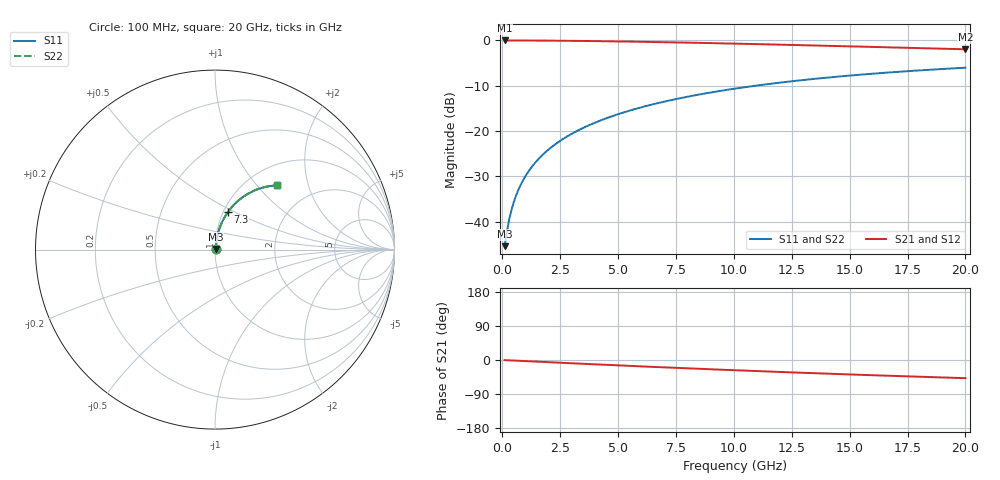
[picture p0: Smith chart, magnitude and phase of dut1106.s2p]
! Touchstone file exported from HFSS 2024.1.0
!  File:  C:/UserFiles/LocalFiles/RDL_TSV_Batchsim/temp_RDL_top_1106_1780046505.aedt
!  Generated:  05:23:54 PM May 29, 2026
!  Design:  RDL_top
!  Project:  temp_RDL_top_1106_1780046505
!  Setup:  Setup1
!  Solution:  Sweep
! Variables:
!  dtsv = 10.80580581um
!  hbump = 3um
!  htsv = 62.29um
!  ldown = 100um
!  lrdl = 671.07um
!  p = 40
!  p1 = 45.73um
!  rhole = 1um
!  t = 450um
!  tdown = 3.915915916um
!  trdl = 4.63um
!  wdown = 15.38538539um
!  wrdl = 12.04um
# GHz S MA R 50.000000
! Terminal data exported
! Port[1] = Box2_T1
! Port[2] = Box2_T2
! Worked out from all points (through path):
!   200 points, 100 MHz to 20 GHz, reference 50 ohm
!   highest |S21| = -0.04 dB at 100 MHz (marker M1); lowest = -2.0 dB at 20 GHz (marker M2)
!   group delay of S21, straight-line fit = 6.65 ps
!   lowest |S11| = -45.4 dB at 100 MHz (marker M3), VSWR 1.01, Z = 50.4 + j0.327 ohm
!   |S11| at or under -10 dB: start of sweep to 10.95 GHz
!   |S22| runs from -45.4 to -6.0 dB; largest |S21 - S12| = 1e-14
!   S11 on the Smith chart (normalised r, x): 100 MHz: 1.01, +0.01; 7.3 GHz: 1.05, +0.46; 20 GHz: 1.36, +1.29
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0.1  0.005384 37.0  0.9957 -0.3  0.9957 -0.3  0.005384 37.0
! Gamma 0 0 0 0
! Port Impedance 50 0 50 0
0.2  0.007812 55.6  0.9956 -0.6  0.9956 -0.6  0.007812 55.6
0.3  0.01064 64.5  0.9955 -0.9  0.9955 -0.9  0.01064 64.5
0.4  0.01359 69.5  0.9953 -1.2  0.9953 -1.2  0.01359 69.5
0.5  0.01659 72.7  0.9951 -1.5  0.9951 -1.5  0.01659 72.7
0.6  0.01962 74.8  0.995 -1.8  0.995 -1.8  0.01962 74.8
0.8  0.02571 77.4  0.9946 -2.3  0.9946 -2.3  0.02571 77.4
1.1  0.03491 79.3  0.9939 -3.2  0.9939 -3.2  0.03491 79.4
1.5  0.04723 80.4  0.9928 -4.4  0.9928 -4.4  0.04723 80.4
1.8  0.05648 80.6  0.9918 -5.2  0.9918 -5.2  0.05648 80.6
2.1  0.06571 80.5  0.9906 -6.1  0.9906 -6.1  0.06571 80.5
2.7  0.08411 79.9  0.9878 -7.8  0.9878 -7.8  0.08412 80.0
3.5  0.1084 78.7  0.983 -10.0  0.983 -10.0  0.1085 78.8
4.2  0.1295 77.5  0.9781 -12.0  0.9781 -12.0  0.1295 77.5
5  0.1533 75.9  0.9718 -14.2  0.9718 -14.2  0.1533 75.9
6.8  0.2053 72.2  0.955 -18.9  0.955 -18.9  0.2054 72.2
7.3  0.2194 71.1  0.9499 -20.2  0.9499 -20.2  0.2195 71.2
8.6  0.2552 68.4  0.9358 -23.5  0.9358 -23.5  0.2553 68.4
10.1  0.2947 65.2  0.9184 -27.1  0.9184 -27.1  0.2948 65.2
13.4  0.374 58.3  0.8777 -34.7  0.8777 -34.7  0.3742 58.3
16.7  0.442 51.8  0.8362 -41.6  0.8362 -41.6  0.4422 51.8
20  0.4986 45.8  0.7958 -47.9  0.7958 -47.9  0.499 45.8
